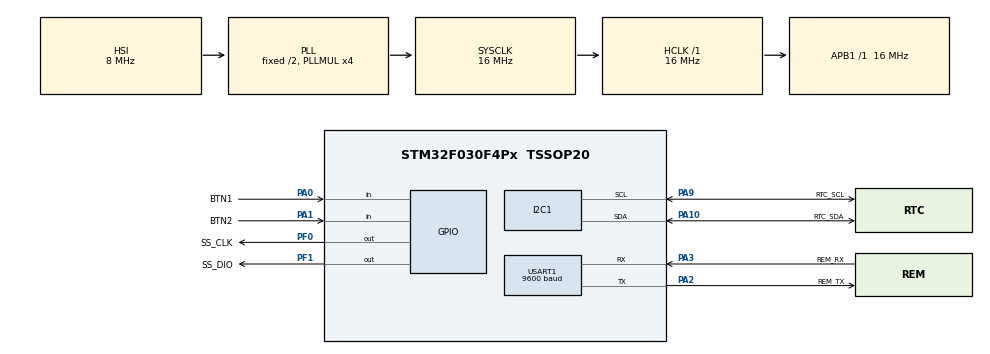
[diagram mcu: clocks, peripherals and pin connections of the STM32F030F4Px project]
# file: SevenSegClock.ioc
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Mcu.Family=STM32F0
Mcu.Name=STM32F030F4Px
Mcu.Package=TSSOP20
PA0.GPIO_Label=BTN1
PA0.GPIO_PuPd=GPIO_PULLUP
PA0.Signal=GPIO_Input
PA1.GPIO_Label=BTN2
PA1.GPIO_PuPd=GPIO_PULLUP
PA1.Signal=GPIO_Input
PA10.GPIO_Label=RTC_SDA
PA10.Mode=I2C
PA10.Signal=I2C1_SDA
PA13.Mode=Serial_Wire
PA13.Signal=SYS_SWDIO
PA14.Mode=Serial_Wire
PA14.Signal=SYS_SWCLK
PA2.GPIO_Label=REM_TX
PA2.Mode=Asynchronous
PA2.Signal=USART1_TX
PA3.GPIO_Label=REM_RX
PA3.Mode=Asynchronous
PA3.Signal=USART1_RX
PA9.GPIO_Label=RTC_SCL
PA9.Mode=I2C
PA9.Signal=I2C1_SCL
PF0-OSC_IN.GPIO_Label=SS_CLK
PF0-OSC_IN.GPIO_Speed=GPIO_SPEED_FREQ_HIGH
PF0-OSC_IN.Signal=GPIO_Output
PF1-OSC_OUT.GPIO_Label=SS_DIO
PF1-OSC_OUT.GPIO_Speed=GPIO_SPEED_FREQ_HIGH
PF1-OSC_OUT.Signal=GPIO_Output
ProjectManager.HeapSize=0x200
ProjectManager.StackSize=0x400
ProjectManager.TargetToolchain=STM32CubeIDE
RCC.AHBFreq_Value=16000000
RCC.APB1Freq_Value=16000000
RCC.APB1TimFreq_Value=16000000
RCC.HCLKFreq_Value=16000000
RCC.PLLMUL=RCC_PLL_MUL4
RCC.SYSCLKFreq_VALUE=16000000
RCC.SYSCLKSource=RCC_SYSCLKSOURCE_PLLCLK
RCC.VDD_VALUE=3.2
USART1.BaudRate=9600
USART1.VirtualMode-Asynchronous=VM_ASYNC
board=custom

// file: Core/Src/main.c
/* USER CODE BEGIN Header */
/**
  ******************************************************************************
  * @file           : main.c
  * @brief          : Main program body
  ******************************************************************************
  * @attention
  *
  * Copyright (c) 2023 STMicroelectronics.
  * All rights reserved.
  *
  * This software is licensed under terms that can be found in the LICENSE file
  * in the root directory of this software component.
  * If no LICENSE file comes with this software, it is provided AS-IS.
  *
  ******************************************************************************
  */
/* USER CODE END Header */
#include "main.h"
#include "i2c.h"
#include "usart.h"
#include "gpio.h"

/* USER CODE BEGIN Includes */
#include "TM1637.h"
#include "DS3231.h"
#include <string.h>
#include <stdio.h>
/* USER CODE END Includes */

/* USER CODE BEGIN PV */
  TIME timeNow;
  float fTemp;
/* USER CODE END PV */

void SystemClock_Config(void);
/* USER CODE BEGIN PFP */
void printRem(char*);
void debugTrace();
/* USER CODE END PFP */

int main(void)
{

  /* MCU Configuration--------------------------------------------------------*/

  /* Reset of all peripherals, Initializes the Flash interface and the Systick. */
  HAL_Init();

  /* Configure the system clock */
  SystemClock_Config();

  /* Initialize all configured peripherals */
  MX_GPIO_Init();
  MX_I2C1_Init();
  MX_USART1_UART_Init();
  /* USER CODE BEGIN 2 */
  tm1637_Init();

  tm1637_SetBrightness(1); // Optionally set brightness. 0 is off. By default, initialized to full brightness.

  tm1637_DisplayDecimal(1234, 1); // Display the value "1234" and turn on the `:` that is between digits 2 and 3.
  /* USER CODE END 2 */

  /* Infinite loop */
  /* USER CODE BEGIN WHILE */

  int nHour, nMin;
  uint8_t bColon;

  enum StateType
  {
	  stInit = 0,
	  stDisplayTime,
	  stUpdateTime,
	  stSetTime,
	  stDisplayTemp,
	  stErr
  };

  int nStateTime = 0;
  enum StateType nCurState = 0;
  enum StateType nNextState = 0;
  uint8_t bFirst;

  int nDebounceBtn1 = 0;
  int nDebounceBtn2 = 0;

  while (1)
  {
	  bFirst = nStateTime==0;

	  switch(nCurState)
	  {
	  case stInit:
		  {
			  nNextState = stUpdateTime;
			  bColon = 0;
		  }
		  break;
	  case stUpdateTime:
		  {
			  ds3231_GetTime(&timeNow);
			  nHour = timeNow.hour%12;
			  nHour = (nHour==0)?12:nHour;
			  nMin = timeNow.minutes;
			  bColon =! bColon;
			  nNextState = stDisplayTime;
		  }
		  break;

	  case stDisplayTime:
		  if(bFirst)
		  {
			  tm1637_DisplayClock(nHour, nMin, bColon);
			  //debugTrace();
		  }
		  if(nStateTime==50)
		  {
			  nNextState = stUpdateTime;
		  }

		  if(HAL_GPIO_ReadPin(BTN1_GPIO_Port, BTN1_Pin)==GPIO_PIN_RESET){if(nDebounceBtn1++==5){timeNow.seconds=0;timeNow.minutes++;if(timeNow.minutes>59)timeNow.minutes=0;ds3231_SetTimeByTimeStruct(timeNow);}}else nDebounceBtn1 = 0;
		  if(HAL_GPIO_ReadPin(BTN2_GPIO_Port, BTN2_Pin)==GPIO_PIN_RESET){if(nDebounceBtn2++==5){timeNow.hour++;if(timeNow.hour>12)timeNow.hour=1;ds3231_SetTimeByTimeStruct(timeNow);}}else nDebounceBtn2 = 0;

		  if(nDebounceBtn1==0 && nDebounceBtn2==0 && timeNow.seconds==30)
		  {
			  nNextState = stDisplayTemp;
		  }

		  break;

	  case stDisplayTemp:
		  if(bFirst)
		  {
			  ds3231_ForceTempConv();
			  fTemp = ds3231_GetTemp();
			  tm1637_DisplayTempDegC((int)(fTemp+0.5));
		  }

		  if(nStateTime==300)
		  {
			  nNextState = stUpdateTime;
		  }

		  break;
	  case stErr:
		  tm1637_DisplayDecimal(9999, 0);
	  default:
		  break;
	  }

	  HAL_Delay(10);

	  if(nCurState==nNextState)
	  {
		  nStateTime++;
	  }
	  else
	  {
		  nStateTime = 0;
		  nCurState = nNextState;
	  }

    /* USER CODE END WHILE */

  }
}

void SystemClock_Config(void)
{
  RCC_OscInitTypeDef RCC_OscInitStruct = {0};
  RCC_ClkInitTypeDef RCC_ClkInitStruct = {0};
  RCC_PeriphCLKInitTypeDef PeriphClkInit = {0};

  /** Initializes the RCC Oscillators according to the specified parameters
  * in the RCC_OscInitTypeDef structure.
  */
  RCC_OscInitStruct.OscillatorType = RCC_OSCILLATORTYPE_HSI;
  RCC_OscInitStruct.HSIState = RCC_HSI_ON;
  RCC_OscInitStruct.HSICalibrationValue = RCC_HSICALIBRATION_DEFAULT;
  RCC_OscInitStruct.PLL.PLLState = RCC_PLL_ON;
  RCC_OscInitStruct.PLL.PLLSource = RCC_PLLSOURCE_HSI;
  RCC_OscInitStruct.PLL.PLLMUL = RCC_PLL_MUL4;
  RCC_OscInitStruct.PLL.PREDIV = RCC_PREDIV_DIV1;
  if (HAL_RCC_OscConfig(&RCC_OscInitStruct) != HAL_OK)
  {
    Error_Handler();
  }

  /** Initializes the CPU, AHB and APB buses clocks
  */
  RCC_ClkInitStruct.ClockType = RCC_CLOCKTYPE_HCLK|RCC_CLOCKTYPE_SYSCLK
                              |RCC_CLOCKTYPE_PCLK1;
  RCC_ClkInitStruct.SYSCLKSource = RCC_SYSCLKSOURCE_PLLCLK;
  RCC_ClkInitStruct.AHBCLKDivider = RCC_SYSCLK_DIV1;
  RCC_ClkInitStruct.APB1CLKDivider = RCC_HCLK_DIV1;

  if (HAL_RCC_ClockConfig(&RCC_ClkInitStruct, FLASH_LATENCY_0) != HAL_OK)
  {
    Error_Handler();
  }
  PeriphClkInit.PeriphClockSelection = RCC_PERIPHCLK_USART1|RCC_PERIPHCLK_I2C1;
  PeriphClkInit.Usart1ClockSelection = RCC_USART1CLKSOURCE_PCLK1;
  PeriphClkInit.I2c1ClockSelection = RCC_I2C1CLKSOURCE_HSI;
  if (HAL_RCCEx_PeriphCLKConfig(&PeriphClkInit) != HAL_OK)
  {
    Error_Handler();
  }
}

/* USER CODE BEGIN 4 */
void printRem(char* str)
{
	HAL_UART_Transmit(&huart1, (uint8_t*) str, strlen(str), 100);
}

void debugTrace()
{
	  char szBuf[20];

	  sprintf (szBuf, "%02d:%02d:%02d\r\n", timeNow.hour, timeNow.minutes, timeNow.seconds);
	  printRem(szBuf);

	  sprintf (szBuf, "%02d-%02d-20%02d\r\n", timeNow.dayofmonth, timeNow.month, timeNow.year);
	  printRem(szBuf);

	  ds3231_ForceTempConv();
	  fTemp = ds3231_GetTemp();

	  sprintf (szBuf, "%d.%02d °C\r\n", (int)fTemp, (int)((fTemp-(int)fTemp)*100.0));
	  printRem(szBuf);

}

/* USER CODE END 4 */

void Error_Handler(void)
{
  __disable_irq();
  while (1)
  {
  }
}
